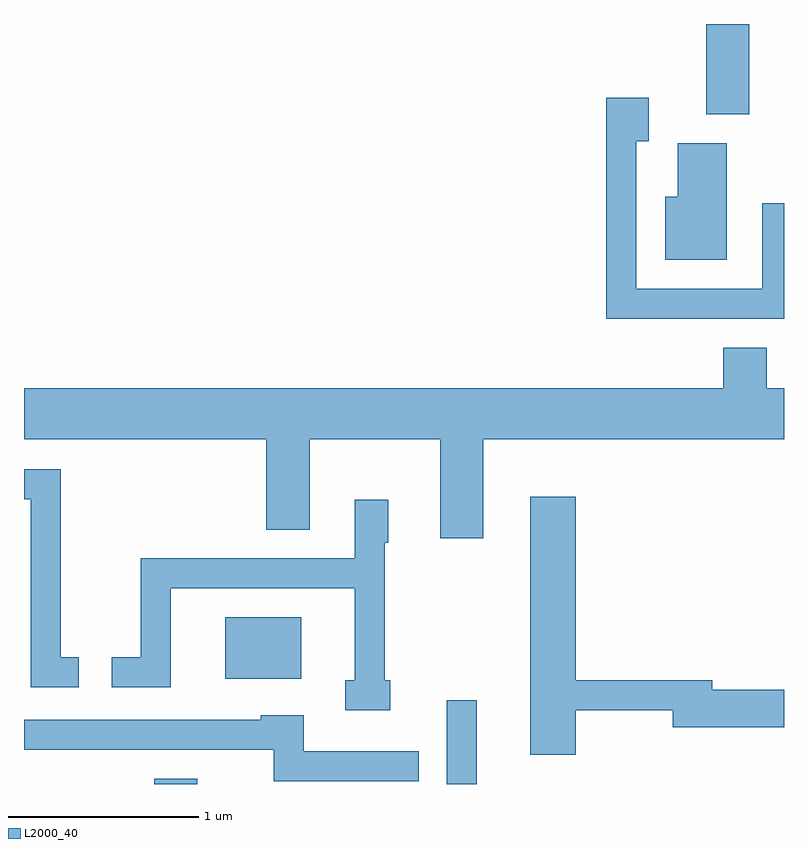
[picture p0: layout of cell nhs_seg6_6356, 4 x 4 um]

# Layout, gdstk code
import gdstk
lib = gdstk.Library(unit=1e-6, precision=1e-09)
def R(c, l, rs):  # rectangles x0, y0, x1, y1
    for r in rs: c.add(gdstk.rectangle(r[:2], r[2:], *l))
def P(c, l, *ps):  # polygons
    for p in ps: c.add(gdstk.Polygon(p, *l))
L2000_40 = (2000, 40)

nhs_seg6_6356 = lib.new_cell('nhs_seg6_6356')
R(nhs_seg6_6356, L2000_40, [(378.296,1608.162,378.524,1608.189), (379.836,1608.162,379.994,1608.603), (378.671,1608.716,379.069,1609.039), (381.201,1611.686,381.429,1612.162)])
P(nhs_seg6_6356, L2000_40, [(381.611,1611.218),(381.496,1611.218),(381.496,1610.769),(380.834,1610.769),(380.834,1611.546),(380.899,1611.546),(380.899,1611.774),(380.676,1611.774),(380.676,1610.611),(381.611,1610.611)],
  [(381.309,1611.534),(381.051,1611.534),(381.051,1611.254),(380.986,1611.254),(380.986,1610.921),(381.309,1610.921)],
  [(380.029,1609.976),(381.611,1609.976),(381.611,1610.244),(381.519,1610.244),(381.519,1610.459),(381.291,1610.459),(381.291,1610.244),(377.611,1610.244),(377.611,1609.976),(378.886,1609.976),(378.886,1609.501),(379.114,1609.501),(379.114,1609.976),(379.801,1609.976),(379.801,1609.456),(380.029,1609.456)],
  [(377.898,1608.829),(377.804,1608.829),(377.804,1609.819),(377.611,1609.819),(377.611,1609.661),(377.646,1609.661),(377.646,1608.671),(377.898,1608.671)],
  [(380.514,1608.551),(381.026,1608.551),(381.026,1608.461),(381.611,1608.461),(381.611,1608.659),(381.234,1608.659),(381.234,1608.709),(380.514,1608.709),(380.514,1609.674),(380.276,1609.674),(380.276,1608.316),(380.514,1608.316)],
  [(379.539,1608.709),(379.509,1608.709),(379.509,1609.431),(379.529,1609.431),(379.529,1609.659),(379.351,1609.659),(379.351,1609.349),(378.226,1609.349),(378.226,1608.829),(378.073,1608.829),(378.073,1608.671),(378.384,1608.671),(378.384,1609.191),(379.351,1609.191),(379.351,1608.709),(379.303,1608.709),(379.303,1608.551),(379.539,1608.551)],
  [(379.688,1608.334),(379.084,1608.334),(379.084,1608.524),(378.856,1608.524),(378.856,1608.499),(377.611,1608.499),(377.611,1608.341),(378.926,1608.341),(378.926,1608.176),(379.688,1608.176)])

lib.write_gds('nhs_seg6_6356.gds')
